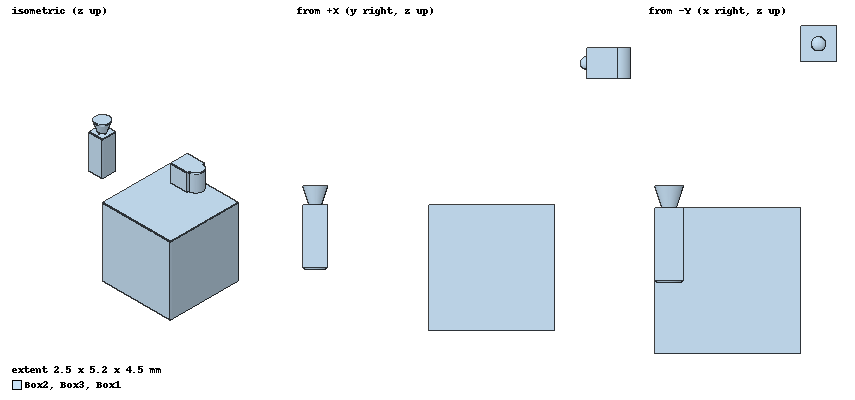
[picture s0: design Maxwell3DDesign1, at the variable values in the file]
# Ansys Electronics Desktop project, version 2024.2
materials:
  vacuum: permittivity=1

design Maxwell3DDesign1 (Maxwell 3D, Magnetostatic, model units mm)
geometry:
  Box1 [vacuum] = box(corner=(0mm, -0.5mm, 0mm), size=(0.5mm, 0.5mm, 0.5mm))
  Cylinder1 = cylinder(axis=Z, base_centre=(0.25mm, 0mm, 0mm), radius=0.2mm, height=0.5mm)
  Sphere1 = sphere(centre=(0.25mm, -0.5mm, 0.25mm), radius=0.1mm)
  Box1.unite(Cylinder1)
  Box1.unite(Sphere1)
  Box1.move(1mm, 2mm, 3mm)
  Box2 [vacuum] = box(corner=(1mm, 1mm, 1mm), size=(-2mm, -2mm, -2mm))
  Box3 [vacuum] = box(corner=(-1mm, -3mm, 0mm), size=(0.4mm, 0.4mm, 1mm))
  Cone1 = cone(axis=Z, base_centre=(-0.8mm, -2.8mm, 1mm), bottom_radius=0.1mm, top_radius=0.2mm, height=0.3mm)
  Torus1 = torus(axis=Z, centre=(-0.8mm, -2.8mm, 0mm), major_radius=0.16mm, minor_radius=0.021664617mm)
  Box3.unite(Cone1, Torus1)
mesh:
  initial mesh: GlobalCurvilinear{Apply}
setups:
  SetupTest: Magnetostatic MaximumPasses=2 MinimumPasses=2 MinimumConvergedPasses=1 PercentRefinement=30 PercentError=1 NonLinearResidual=0.001
